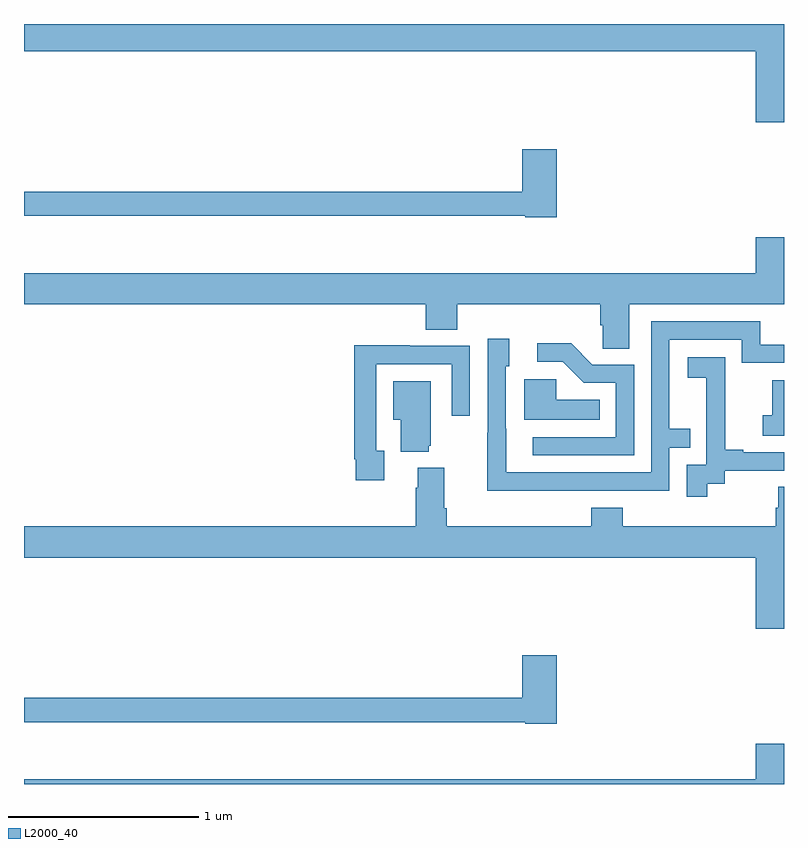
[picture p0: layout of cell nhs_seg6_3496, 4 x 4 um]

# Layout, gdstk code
import gdstk
lib = gdstk.Library(unit=1e-6, precision=1e-09)
def P(c, l, *ps):  # polygons
    for p in ps: c.add(gdstk.Polygon(p, *l))
L2000_40 = (2000, 40)

nhs_seg6_3496 = lib.new_cell('nhs_seg6_3496')
P(nhs_seg6_3496, L2000_40, [(321,927.5),(317,927.5),(317,927.356),(320.852,927.356),(320.852,926.982),(321,926.982)],
  [(319.805,926.842),(319.622,926.842),(319.622,926.618),(317,926.618),(317,926.49),(319.638,926.49),(319.638,926.482),(319.805,926.482)],
  [(320.185,926.024),(321,926.024),(321,926.377),(320.852,926.377),(320.852,926.188),(317,926.188),(317,926.024),(319.115,926.024),(319.115,925.891),(319.28,925.891),(319.28,926.024),(320.033,926.024),(320.033,925.915),(320.046,925.915),(320.046,925.792),(320.185,925.792)],
  [(319.901,925.044),(320.397,925.044),(320.397,925.269),(320.507,925.269),(320.507,925.37),(320.397,925.37),(320.397,925.839),(320.778,925.839),(320.778,925.716),(321,925.716),(321,925.812),(320.875,925.812),(320.875,925.935),(320.301,925.935),(320.301,925.14),(319.537,925.14),(319.537,925.37),(319.536,925.37),(319.536,925.698),(319.555,925.698),(319.555,925.843),(319.44,925.843),(319.44,925.349),(319.438,925.349),(319.438,925.043),(319.901,925.043)],
  [(320.211,925.707),(319.992,925.707),(319.879,925.82),(319.701,925.82),(319.701,925.722),(319.835,925.722),(319.946,925.611),(320.115,925.611),(320.115,925.326),(319.677,925.326),(319.677,925.23),(320.211,925.23)],
  [(318.895,925.254),(318.855,925.254),(318.855,925.71),(319.251,925.71),(319.251,925.437),(319.347,925.437),(319.347,925.806),(319.031,925.806),(319.031,925.808),(318.739,925.808),(318.739,925.21),(318.747,925.21),(318.747,925.098),(318.895,925.098)],
  [(320.596,925.081),(320.688,925.081),(320.688,925.149),(321,925.149),(321,925.245),(320.785,925.245),(320.785,925.258),(320.69,925.258),(320.69,925.541),(320.691,925.541),(320.691,925.747),(320.493,925.747),(320.493,925.637),(320.591,925.637),(320.591,925.409),(320.592,925.409),(320.592,925.179),(320.487,925.179),(320.487,925.011),(320.596,925.011)],
  [(320.03,925.522),(319.8,925.522),(319.8,925.63),(319.634,925.63),(319.634,925.418),(320.03,925.418)],
  [(321,925.626),(320.938,925.626),(320.938,925.441),(320.889,925.441),(320.889,925.332),(321,925.332)],
  [(319.13,925.281),(319.141,925.281),(319.141,925.621),(318.944,925.621),(318.944,925.418),(318.983,925.418),(318.983,925.25),(319.13,925.25)],
  [(321,925.064),(320.969,925.064),(320.969,924.954),(320.957,924.954),(320.957,924.856),(320.15,924.856),(320.15,924.955),(319.985,924.955),(319.985,924.856),(319.226,924.856),(319.226,924.952),(319.213,924.952),(319.213,925.165),(319.073,925.165),(319.073,925.058),(319.061,925.058),(319.061,924.856),(317,924.856),(317,924.692),(320.852,924.692),(320.852,924.318),(321,924.318)],
  [(319.805,924.178),(319.622,924.178),(319.622,923.954),(317,923.954),(317,923.826),(319.638,923.826),(319.638,923.818),(319.805,923.818)],
  [(321,923.713),(320.852,923.713),(320.852,923.524),(317,923.524),(317,923.5),(321,923.5)])

lib.write_gds('nhs_seg6_3496.gds')
